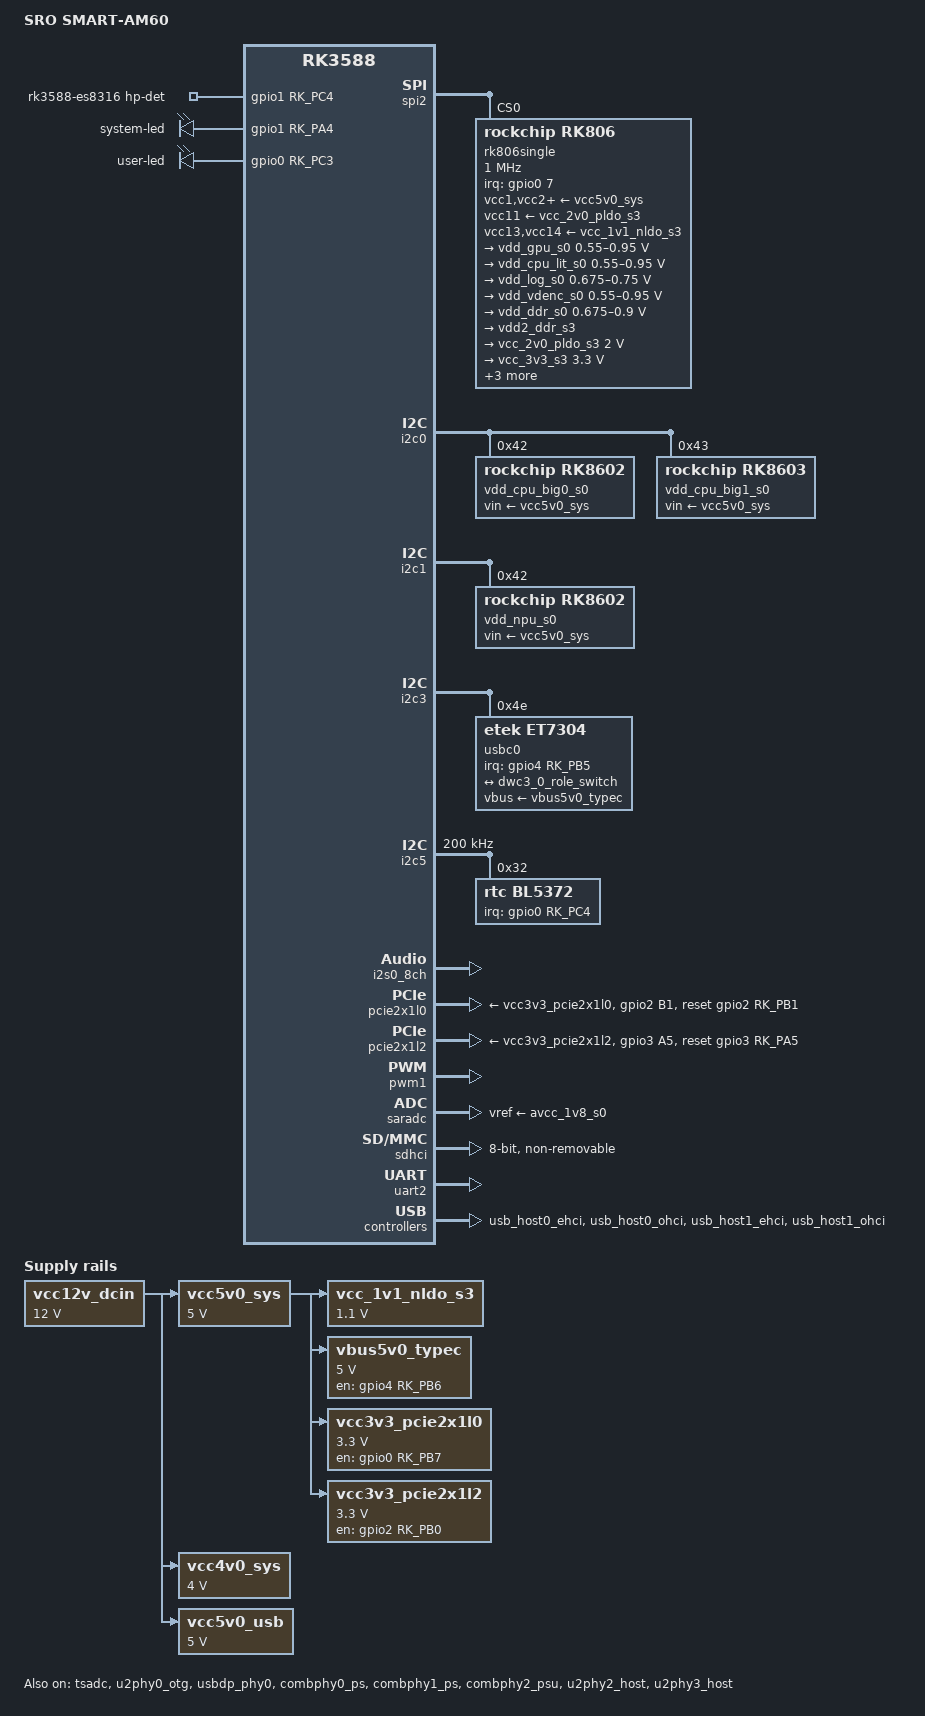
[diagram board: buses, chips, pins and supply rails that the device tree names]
// SPDX-License-Identifier: (GPL-2.0+ OR MIT)
/*
 * Copyright (c) 2021 Rockchip Electronics Co., Ltd.
 * Copyright (c) 2023 Thomas McKahan
 *
 */

/dts-v1/;

#include <dt-bindings/gpio/gpio.h>
#include <dt-bindings/pinctrl/rockchip.h>
#include <dt-bindings/usb/pd.h>
#include "rk3588.dtsi"

/ {
	model = "SRO SMART-AM60";
	compatible = "sro,smart-am60", "rockchip,rk3588";

	aliases {
		mmc0 = &sdhci;
		serial2 = &uart2;
	};

	analog-sound {
		compatible = "audio-graph-card";
		label = "rk3588-es8316";

		widgets = "Microphone", "Mic Jack",
			  "Headphone", "Headphones";

		routing = "MIC2", "Mic Jack",
			  "Headphones", "HPOL",
			  "Headphones", "HPOR";

		hp-det-gpio = <&gpio1 RK_PC4 GPIO_ACTIVE_HIGH>;
		pinctrl-names = "default";
		pinctrl-0 = <&hp_detect>;
	};

	chosen {
		stdout-path = "serial2:1500000n8";
		u-boot,spl-boot-order = &sdhci ;
	};

	leds {
		compatible = "gpio-leds";

		sys_led: led-0 {
			// green led: gpios = <0x183 0x04 0x00>;
			gpios = <&gpio1 RK_PA4 GPIO_ACTIVE_HIGH>;
			label = "system-led";
			linux,default-trigger = "heartbeat";
			pinctrl-names = "default";
			pinctrl-0 = <&sys_led_pin>;
		};

		usr_led: led-1 {
			// red led : gpios = <0x123 0x13 0x00>;
			gpios = <&gpio0 RK_PC3 GPIO_ACTIVE_HIGH>;
			label = "user-led";
			pinctrl-names = "default";
			pinctrl-0 = <&usr_led_pin>;
		};
	};

	vcc12v_dcin: vcc12v-dcin-regulator {
		compatible = "regulator-fixed";
		regulator-name = "vcc12v_dcin";
		regulator-always-on;
		regulator-boot-on;
		regulator-min-microvolt = <12000000>;
		regulator-max-microvolt = <12000000>;
	}; // ok

	/* vcc5v0_sys powers peripherals */
	vcc5v0_sys: vcc5v0-sys-regulator {
		compatible = "regulator-fixed";
		regulator-name = "vcc5v0_sys";
		regulator-always-on;
		regulator-boot-on;
		regulator-min-microvolt = <5000000>;
		regulator-max-microvolt = <5000000>;
		vin-supply = <&vcc12v_dcin>;
	}; // ok

	/* vcc4v0_sys powers the RK806, RK860's */
	vcc4v0_sys: vcc4v0-sys-regulator {
		compatible = "regulator-fixed";
		regulator-name = "vcc4v0_sys";
		regulator-always-on;
		regulator-boot-on;
		regulator-min-microvolt = <4000000>;
		regulator-max-microvolt = <4000000>;
		vin-supply = <&vcc12v_dcin>;
	}; // ok

	vcc5v0_usb: vcc5v0-usb {
		compatible = "regulator-fixed";
		regulator-name = "vcc5v0_usb";
		regulator-always-on;
		regulator-boot-on;
		regulator-min-microvolt = <0x4c4b40>;
		regulator-max-microvolt = <0x4c4b40>;
		vin-supply = <&vcc12v_dcin>;
	};	// ok

	vcc_1v1_nldo_s3: vcc-1v1-nldo-s3-regulator {
		compatible = "regulator-fixed";
		regulator-name = "vcc-1v1-nldo-s3";
		regulator-always-on;
		regulator-boot-on;
		regulator-min-microvolt = <1100000>;
		regulator-max-microvolt = <1100000>;
		vin-supply = <&vcc5v0_sys>;
	};	// ok

	vbus5v0_typec: vbus5v0-typec-regulator {
		compatible = "regulator-fixed";
		enable-active-high;
		// gpio = <0xe3 0x0e 0x00>;
		gpio = <&gpio4 RK_PB6 GPIO_ACTIVE_HIGH>;
		pinctrl-names = "default";
		pinctrl-0 = <&typec5v_pwren>;
		regulator-name = "vbus5v0_typec";
		regulator-min-microvolt = <5000000>;
		regulator-max-microvolt = <5000000>;
		vin-supply = <&vcc5v0_sys>;
	};	// ok

	vcc3v3_pcie2x1l0: vcc3v3-pcie2x1l0-regulator {
		compatible = "regulator-fixed";
		enable-active-high;
		// gpios = <0x123 0x0f 0x00>;
		gpio = <&gpio0 RK_PB7 GPIO_ACTIVE_HIGH>;
		pinctrl-names = "default";
		pinctrl-0 = <&pcie_m2_1_pwren>;
		regulator-name = "vcc3v3_pcie2x1l0";
		regulator-min-microvolt = <3300000>;
		regulator-max-microvolt = <3300000>;
		vin-supply = <&vcc5v0_sys>;
	}; // ok

	vcc3v3_pcie2x1l2: vcc3v3-pcie2x1l2-regulator {
		compatible = "regulator-fixed";
		enable-active-high;
		// gpios = <0x18a 0x08 0x01>;
		gpio = <&gpio2 RK_PB0 GPIO_ACTIVE_LOW>;
		pinctrl-names = "default";
		pinctrl-0 = <&pcie_m2_2_pwren>;
		regulator-name = "vcc3v3_pcie2x1l2";
		regulator-min-microvolt = <3300000>;
		regulator-max-microvolt = <3300000>;
		vin-supply = <&vcc5v0_sys>;
	};	// ok

};

&cpu_l0 {
	cpu-supply = <&vdd_cpu_lit_s0>;
};

&cpu_l1 {
	cpu-supply = <&vdd_cpu_lit_s0>;
};

&cpu_l2 {
	cpu-supply = <&vdd_cpu_lit_s0>;
};

&cpu_l3 {
	cpu-supply = <&vdd_cpu_lit_s0>;
};

&cpu_b0 {
	cpu-supply = <&vdd_cpu_big0_s0>;
};

&cpu_b1 {
	cpu-supply = <&vdd_cpu_big0_s0>;
};

&cpu_b2 {
	cpu-supply = <&vdd_cpu_big1_s0>;
};

&cpu_b3 {
	cpu-supply = <&vdd_cpu_big1_s0>;
};

&gpio0 {
	gpio-line-names = /* GPIO0 A0-A7 */
			  "", "", "", "",
			  "", "", "", "",
			  /* GPIO0 B0-B7 */
			  "", "", "", "",
			  "", "", "", "",
			  /* GPIO0 C0-C7 */
			  "", "", "", "",
			  "HEADER_10", "HEADER_08", "HEADER_32", "",
			  /* GPIO0 D0-D7 */
			  "", "", "", "",
			  "", "", "", "";
};

&gpio1 {
	gpio-line-names = /* GPIO1 A0-A7 */
			  "HEADER_27", "HEADER_28", "", "",
			  "", "", "", "HEADER_15",
			  /* GPIO1 B0-B7 */
			  "HEADER_26", "HEADER_21", "HEADER_19", "HEADER_23",
			  "HEADER_24", "HEADER_22", "", "",
			  /* GPIO1 C0-C7 */
			  "", "", "", "",
			  "", "", "", "",
			  /* GPIO1 D0-D7 */
			  "", "", "", "",
			  "", "", "HEADER_05", "HEADER_03";
};

&gpio2 {
	gpio-line-names = /* GPIO2 A0-A7 */
			  "", "", "", "",
			  "", "", "", "",
			  /* GPIO2 B0-B7 */
			  "", "", "", "",
			  "", "", "", "",
			  /* GPIO2 C0-C7 */
			  "", "CSI1_11", "CSI1_12", "",
			  "", "", "", "",
			  /* GPIO2 D0-D7 */
			  "", "", "", "",
			  "", "", "", "";
};

&gpio3 {
	gpio-line-names = /* GPIO3 A0-A7 */
			  "HEADER_35", "HEADER_38", "HEADER_40", "HEADER_36",
			  "HEADER_37", "", "DSI0_12", "",
			  /* GPIO3 B0-B7 */
			  "HEADER_33", "DSI0_10", "HEADER_07", "HEADER_16",
			  "HEADER_18", "HEADER_29", "HEADER_31", "HEADER_12",
			  /* GPIO3 C0-C7 */
			  "DSI0_08", "DSI0_14", "HEADER_11", "HEADER_13",
			  "", "", "", "",
			  /* GPIO3 D0-D7 */
			  "", "", "", "",
			  "", "DSI1_10", "", "";
};

&gpio4 {
	gpio-line-names = /* GPIO4 A0-A7 */
			  "DSI1_08", "DSI1_14", "", "DSI1_12",
			  "", "", "", "",
			  /* GPIO4 B0-B7 */
			  "", "", "", "",
			  "", "", "", "",
			  /* GPIO4 C0-C7 */
			  "", "", "", "",
			  "CSI0_11", "CSI0_12", "", "",
			  /* GPIO4 D0-D7 */
			  "", "", "", "",
			  "", "", "", "";
};

&spi2 {
	status = "okay";
	assigned-clocks = <&cru CLK_SPI2>;
	assigned-clock-rates = <200000000>;
	pinctrl-names = "default";
	pinctrl-0 = <&spi2m2_cs0 &spi2m2_pins>;
	num-cs = <1>;

	rk806single: rk806single@0 {
		compatible = "rockchip,rk806";
		spi-max-frequency = <1000000>;
		reg = <0x0>;

		interrupt-parent = <&gpio0>;
		interrupts = <7 IRQ_TYPE_LEVEL_LOW>;

		pinctrl-names = "default";
		pinctrl-0 = <&pmic_pins>, <&rk806_dvs1_null>,
			    <&rk806_dvs2_null>, <&rk806_dvs3_null>;

		system-power-controller;

		vcc1-supply = <&vcc5v0_sys>;
		vcc2-supply = <&vcc5v0_sys>;
		vcc3-supply = <&vcc5v0_sys>;
		vcc4-supply = <&vcc5v0_sys>;
		vcc5-supply = <&vcc5v0_sys>;
		vcc6-supply = <&vcc5v0_sys>;
		vcc7-supply = <&vcc5v0_sys>;
		vcc8-supply = <&vcc5v0_sys>;
		vcc9-supply = <&vcc5v0_sys>;
		vcc10-supply = <&vcc5v0_sys>;
		vcc11-supply = <&vcc_2v0_pldo_s3>;
		vcc12-supply = <&vcc5v0_sys>;
		vcc13-supply = <&vcc_1v1_nldo_s3>;
		vcc14-supply = <&vcc_1v1_nldo_s3>;
		vcca-supply = <&vcc5v0_sys>;

		gpio-controller;
		#gpio-cells = <2>;
		pwrkey {
				status = "disabled";
			};

		rk806_dvs1_null: dvs1-null-pins {
			pins = "gpio_pwrctrl2";
			function = "pin_fun0";
		};

		rk806_dvs2_null: dvs2-null-pins {
			pins = "gpio_pwrctrl2";
			function = "pin_fun0";
		};

		rk806_dvs3_null: dvs3-null-pins {
			pins = "gpio_pwrctrl3";
			function = "pin_fun0";
		};

		regulators {
			vdd_gpu_s0: vdd_gpu_mem_s0: dcdc-reg1 {
				regulator-boot-on;
				regulator-min-microvolt = <550000>;
				regulator-max-microvolt = <950000>;
				regulator-ramp-delay = <12500>;
				regulator-name = "vdd_gpu_s0";
				regulator-enable-ramp-delay = <400>;

				regulator-state-mem {
					regulator-off-in-suspend;
				};
			};

			vdd_cpu_lit_s0: vdd_cpu_lit_mem_s0: dcdc-reg2 {
				regulator-always-on;
				regulator-boot-on;
				regulator-min-microvolt = <550000>;
				regulator-max-microvolt = <950000>;
				regulator-ramp-delay = <12500>;
				regulator-name = "vdd_cpu_lit_s0";

				regulator-state-mem {
					regulator-off-in-suspend;
				};
			};

			vdd_log_s0: dcdc-reg3 {
				regulator-always-on;
				regulator-boot-on;
				regulator-min-microvolt = <675000>;
				regulator-max-microvolt = <750000>;
				regulator-ramp-delay = <12500>;
				regulator-name = "vdd_log_s0";

				regulator-state-mem {
					regulator-off-in-suspend;
					regulator-suspend-microvolt = <750000>;
				};
			};

			vdd_vdenc_s0: vdd_vdenc_mem_s0: dcdc-reg4 {
				regulator-always-on;
				regulator-boot-on;
				regulator-min-microvolt = <550000>;
				regulator-max-microvolt = <950000>;
				regulator-init-microvolt = <750000>;
				regulator-ramp-delay = <12500>;
				regulator-name = "vdd_vdenc_s0";

				regulator-state-mem {
					regulator-off-in-suspend;
				};
			};

			vdd_ddr_s0: dcdc-reg5 {
				regulator-always-on;
				regulator-boot-on;
				regulator-min-microvolt = <675000>;
				regulator-max-microvolt = <900000>;
				regulator-ramp-delay = <12500>;
				regulator-name = "vdd_ddr_s0";

				regulator-state-mem {
					regulator-off-in-suspend;
					regulator-suspend-microvolt = <850000>;
				};
			};

			vdd2_ddr_s3: dcdc-reg6 {
				regulator-always-on;
				regulator-boot-on;
				regulator-name = "vdd2_ddr_s3";

				regulator-state-mem {
					regulator-on-in-suspend;
				};
			};

			vcc_2v0_pldo_s3: dcdc-reg7 {
				regulator-always-on;
				regulator-boot-on;
				regulator-min-microvolt = <2000000>;
				regulator-max-microvolt = <2000000>;
				regulator-ramp-delay = <12500>;
				regulator-name = "vdd_2v0_pldo_s3";

				regulator-state-mem {
					regulator-on-in-suspend;
					regulator-suspend-microvolt = <2000000>;
				};
			};

			vcc_3v3_s3: dcdc-reg8 {
				regulator-always-on;
				regulator-boot-on;
				regulator-min-microvolt = <3300000>;
				regulator-max-microvolt = <3300000>;
				regulator-name = "vcc_3v3_s3";

				regulator-state-mem {
					regulator-on-in-suspend;
					regulator-suspend-microvolt = <3300000>;
				};
			};

			vddq_ddr_s0: dcdc-reg9 {
				regulator-always-on;
				regulator-boot-on;
				regulator-name = "vddq_ddr_s0";

				regulator-state-mem {
					regulator-off-in-suspend;
				};
			};

			vcc_1v8_s3: dcdc-reg10 {
				regulator-always-on;
				regulator-boot-on;
				regulator-min-microvolt = <1800000>;
				regulator-max-microvolt = <1800000>;
				regulator-name = "vcc_1v8_s3";

				regulator-state-mem {
					regulator-on-in-suspend;
					regulator-suspend-microvolt = <1800000>;
				};
			};

			avcc_1v8_s0: pldo-reg1 {
				regulator-always-on;
				regulator-boot-on;
				regulator-min-microvolt = <1800000>;
				regulator-max-microvolt = <1800000>;
				regulator-name = "avcc_1v8_s0";

				regulator-state-mem {
					regulator-off-in-suspend;
				};
			};

			vcc_1v8_s0: pldo-reg2 {
				regulator-always-on;
				regulator-boot-on;
				regulator-min-microvolt = <1800000>;
				regulator-max-microvolt = <1800000>;
				regulator-name = "vcc_1v8_s0";

				regulator-state-mem {
					regulator-off-in-suspend;
					regulator-suspend-microvolt = <1800000>;
				};
			};

			avdd_1v2_s0: pldo-reg3 {
				regulator-always-on;
				regulator-boot-on;
				regulator-min-microvolt = <1200000>;
				regulator-max-microvolt = <1200000>;
				regulator-name = "avdd_1v2_s0";

				regulator-state-mem {
					regulator-off-in-suspend;
				};
			};

			vcc_3v3_s0: pldo-reg4 {
				regulator-always-on;
				regulator-boot-on;
				regulator-min-microvolt = <3300000>;
				regulator-max-microvolt = <3300000>;
				regulator-ramp-delay = <12500>;
				regulator-name = "vcc_3v3_s0";

				regulator-state-mem {
					regulator-off-in-suspend;
				};
			};

			vccio_sd_s0: pldo-reg5 {
				regulator-always-on;
				regulator-boot-on;
				regulator-min-microvolt = <1800000>;
				regulator-max-microvolt = <3300000>;
				regulator-ramp-delay = <12500>;
				regulator-name = "vccio_sd_s0";

				regulator-state-mem {
					regulator-off-in-suspend;
				};
			};

			pldo6_s3: pldo-reg6 {
				regulator-always-on;
				regulator-boot-on;
				regulator-min-microvolt = <1800000>;
				regulator-max-microvolt = <1800000>;
				regulator-name = "pldo6_s3";

				regulator-state-mem {
					regulator-on-in-suspend;
					regulator-suspend-microvolt = <1800000>;
				};
			};

			vdd_0v75_s3: nldo-reg1 {
				regulator-always-on;
				regulator-boot-on;
				regulator-min-microvolt = <750000>;
				regulator-max-microvolt = <750000>;
				regulator-name = "vdd_0v75_s3";

				regulator-state-mem {
					regulator-on-in-suspend;
					regulator-suspend-microvolt = <750000>;
				};
			};

			vdd_ddr_pll_s0: nldo-reg2 {
				regulator-always-on;
				regulator-boot-on;
				regulator-min-microvolt = <850000>;
				regulator-max-microvolt = <850000>;
				regulator-name = "vdd_ddr_pll_s0";

				regulator-state-mem {
					regulator-off-in-suspend;
					regulator-suspend-microvolt = <850000>;
				};
			};

			avdd_0v75_s0: nldo-reg3 {
				regulator-always-on;
				regulator-boot-on;
				regulator-min-microvolt = <750000>;
				regulator-max-microvolt = <750000>;
				regulator-name = "avdd_0v75_s0";

				regulator-state-mem {
					regulator-off-in-suspend;
				};
			};

			vdd_0v85_s0: nldo-reg4 {
				regulator-always-on;
				regulator-boot-on;
				regulator-min-microvolt = <850000>;
				regulator-max-microvolt = <850000>;
				regulator-name = "vdd_0v85_s0";

				regulator-state-mem {
					regulator-off-in-suspend;
				};
			};

			vdd_0v75_s0: nldo-reg5 {
				regulator-always-on;
				regulator-boot-on;
				regulator-min-microvolt = <750000>;
				regulator-max-microvolt = <750000>;
				regulator-name = "vdd_0v75_s0";

				regulator-state-mem {
					regulator-off-in-suspend;
				};
			};
		};
	};
};	// ok

&i2c0 {
	pinctrl-names = "default";
	pinctrl-0 = <&i2c0m2_xfer>;
	status = "okay";

	vdd_cpu_big0_s0: regulator@42 {
		compatible = "rockchip,rk8602";
		regulator-compatible = "rk860x-reg";
		reg = <0x42>;
		fcs,suspend-voltage-selector = <1>;
		regulator-name = "vdd_cpu_big0_s0";
		regulator-always-on;
		regulator-boot-on;
		regulator-min-microvolt = <550000>;
		regulator-max-microvolt = <1050000>;
		regulator-ramp-delay = <2300>;
		vin-supply = <&vcc5v0_sys>;

		regulator-state-mem {
			regulator-off-in-suspend;
		};
	};

	vdd_cpu_big1_s0: regulator@43 {
		compatible = "rockchip,rk8603", "rockchip,rk8602";
		regulator-compatible = "rk860x-reg";
		reg = <0x43>;
		fcs,suspend-voltage-selector = <1>;
		regulator-name = "vdd_cpu_big1_s0";
		regulator-always-on;
		regulator-boot-on;
		regulator-min-microvolt = <550000>;
		regulator-max-microvolt = <1050000>;
		regulator-ramp-delay = <2300>;
		vin-supply = <&vcc5v0_sys>;

		regulator-state-mem {
			regulator-off-in-suspend;
		};
	};
};	// ok

&i2c1 {
	status = "okay";

	vdd_npu_s0: regulator@42 {
		compatible = "rockchip,rk8602";
		regulator-compatible = "rk860x-reg";
		reg = <0x42>;
		rockchip,suspend-voltage-selector = <1>;
		regulator-name = "vdd_npu_s0";
		regulator-always-on;
		regulator-boot-on;
		regulator-min-microvolt = <550000>;
		regulator-max-microvolt = <950000>;
		regulator-ramp-delay = <2300>;
		vin-supply = <&vcc5v0_sys>;

		regulator-state-mem {
			regulator-off-in-suspend;
		};
	};
};	// ok

// #配置外置Type-C控制器芯片et7304
// #需要根据实际的硬件设计，配置"I2C/interrupts/vbus-supply/usb_con"的属性
&i2c3 {
    status = "okay";

    usbc0: et7304@4e {
        compatible = "etek,et7304";
        reg = <0x4e>;
		// interrupt-parent = <0xe3>;
		// interrupts = <0x0d 0x08>;
        interrupt-parent = <&gpio4>;
        interrupts = <RK_PB5 IRQ_TYPE_LEVEL_LOW>;
        pinctrl-names = "default";
        pinctrl-0 = <&usbc0_int>;
        vbus-supply = <&vbus5v0_typec>;
        status = "okay";

        ports {
            #address-cells = <1>;
            #size-cells = <0>;

            port@0 {
                reg = <0>;
                usbc0_role_sw: endpoint@0 {
                	remote-endpoint = <&dwc3_0_role_switch>;
                };
            };
        };

        usb_con: connector {
            compatible = "usb-c-connector";
            label = "USB-C";
            data-role = "dual";
            power-role = "dual";
            try-power-role = "sink";
            op-sink-microwatt = <1000000>;
            source-pdos = <PDO_FIXED(5000, 2000, PDO_FIXED_USB_COMM)>;
			sink-pdos = <PDO_FIXED(5000, 3000, PDO_FIXED_USB_COMM)>;
/*
            altmodes {
                #address-cells = <1>;
                #size-cells = <0>;
                altmode@0 {
                    reg = <0>;
                    svid = <0xff01>;
                    vdo = <0xffffffff>;
                };
            };

            ports {
				#address-cells = <0x01>;
				#size-cells = <0x00>;
				usbc0_orien_sw: port@0 {
					reg = <0x00>;
					endpoint {
						remote-endpoint = <&usbdp_phy0_orientation_switch>;
					};
				};

				dp_altmode_mux: port@1 {
					reg = <0x01>;
					endpoint {
						remote-endpoint = <&usbdp_phy0_dp_altmode_mux>;
					};
				};
			};
*/
        };
    };
};

&i2c5 {
	clock-frequency = <200000>;
	status = "okay";

	bl5372: rtc@32 {
		compatible = "rtc,bl5372";
		reg = <0x32>;
		#clock-cells = <0>;
		clock-output-names = "hym8563";
		pinctrl-names = "default";
		pinctrl-0 = <&bl5372_int>;
		interrupt-parent = <&gpio0>;
		interrupts = <RK_PC4 IRQ_TYPE_LEVEL_LOW>;
		wakeup-source;
	};
};	// ok

&i2s0_8ch {
	pinctrl-names = "default";
	pinctrl-0 = <&i2s0_lrck
		     &i2s0_mclk
		     &i2s0_sclk
		     &i2s0_sdi0
		     &i2s0_sdo0>;
	status = "okay";
};

&pcie2x1l0 {
	// reset-gpios = <0x18a 0x09 0x00>;
	reset-gpios = <&gpio2 RK_PB1 GPIO_ACTIVE_HIGH>;
	vpcie3v3-supply = <&vcc3v3_pcie2x1l0>;
	pinctrl-names = "default";
	pinctrl-0 = <&pcie2_0_rst>;
	status = "okay";
};	// ok


&pcie2x1l2 {
	// reset-gpios = <0xee 0x05 0x00>;
	reset-gpios = <&gpio3 RK_PA5 GPIO_ACTIVE_HIGH>;
	vpcie3v3-supply = <&vcc3v3_pcie2x1l2>;
	pinctrl-names = "default";
	pinctrl-0 = <&pcie2_2_rst>;
	status = "okay";
};	// ok

&pinctrl {
	gpio-leds {
		sys_led_pin: sys-led-pin {
			rockchip,pins = <1 RK_PA4 RK_FUNC_GPIO &pcfg_pull_none>;
		};

		usr_led_pin: usr-led-pin {
			rockchip,pins = <0 RK_PC3 RK_FUNC_GPIO &pcfg_pull_none>;
		};
	};

	headphone {
		hp_detect: hp-detect {
			rockchip,pins = <1 RK_PC4 RK_FUNC_GPIO &pcfg_pull_none>;
		};
	};

	usb-typec {

			usbc0_int: usbc0-int {
				rockchip,pins = <0x04 0x0d 0x00 0x168>;
			};

			typec5v_pwren: typec5v-pwren {
				rockchip,pins = <0x04 0x0e 0x00 0x162>;
			};
	};

	bl5372 {
		bl5372_int: bl5372-int {
			rockchip,pins = <0 RK_PC4 RK_FUNC_GPIO &pcfg_pull_up>;
		};
	};

	pcie {
		pcie2_0_rst: pcie2-0-rst {
			rockchip,pins = <2 RK_PB1 RK_FUNC_GPIO &pcfg_pull_none>;
		};

		pcie2_2_rst: pcie2-2-rst {
			rockchip,pins = <3 RK_PA5 RK_FUNC_GPIO &pcfg_pull_none>;
		};

	};

	pcie_m2_1_pwren: pcie-m21-pwren {
			rockchip,pins = <0 RK_PB7 RK_FUNC_GPIO &pcfg_pull_none>;
		};

	pcie_m2_2_pwren: pcie-m22-pwren {
			rockchip,pins = <2 RK_PB0 RK_FUNC_GPIO &pcfg_pull_none>;
		};

	rtl8111 {

			rtl8111-isolate {
				rockchip,pins = <0x00 0x17 0x00 0x168>;
			};

			rtl8111-poweren {
				rockchip,pins = <0x00 0x0f 0x00 0x162>;
			};
	};
};

&pwm1 {
	pinctrl-0 = <&pwm1m1_pins>;
	status = "okay";
};

&saradc {
	vref-supply = <&avcc_1v8_s0>;
	status = "okay";
};

&sdhci {
	bus-width = <8>;
	no-sdio;
	no-sd;
	non-removable;
	max-frequency = <200000000>;
	mmc-hs400-1_8v;
	mmc-hs400-enhanced-strobe;
	status = "okay";
};

&sdmmc {
	status = "disabled";
};

&sdio {
	status = "disabled";
};

&tsadc {
	status = "okay";
};

&uart2 {
	pinctrl-0 = <&uart2m1_xfer>;
	status = "okay";
};

/* Type-C USB 3.1/DP 全功能 DTS 配置 */
// #USB2.0 PHY配置属性"rockchip,typec-vbus-det"，表示支持Type-C VBUS_DET常拉高的硬件设计
&u2phy0_otg {
	status = "okay";
    rockchip,typec-vbus-det;
};

// #USB3.1/DP PHY0，需要根据硬件设计，配置属性"sbu1-dc-gpios"和"sbu2-dc-gpios"
&usbdp_phy0 {
	status = "okay";
    orientation-switch;
    svid = <0xff01>;
	// sbu1-dc-gpios = <0xee 0x08 0x00>;
    sbu1-dc-gpios = <&gpio3 RK_PB0 GPIO_ACTIVE_HIGH>;
	// sbu2-dc-gpios = <0xee 0x07 0x00>;
    sbu2-dc-gpios = <&gpio3 RK_PA7 GPIO_ACTIVE_HIGH>;
/*
    port {
            #address-cells = <1>;
            #size-cells = <0>;
		    usbdp_phy0_orientation_switch: endpoint@0 {
                    reg = <0>;
                    remote-endpoint = <&usbc0_orien_sw>;
            };

            usbdp_phy0_dp_altmode_mux: endpoint@1 {
                    reg = <1>;
                    remote-endpoint = <&dp_altmode_mux>;
             };
    };
*/
};

/*
// #USB3.1 OTG0 Controller
&usbdrd_dwc3_0 {
	status = "okay";
    dr_mode = "otg";
    usb-role-switch;
    port {
        #address-cells = <1>;
        #size-cells = <0>;
        dwc3_0_role_switch: endpoint@0 {
        	reg = <0>;
        	remote-endpoint = <&usbc0_role_sw>;
        };
    };
};
*/
/* Type-A USB 3.1 DTS 配置 */
// #使能USB3.1/SATA/PCIe Combo PHY
&combphy0_ps {
	status = "okay";
};

&combphy1_ps {
	status = "okay";
};

&combphy2_psu {
	status = "okay";
};
/*
// #配置USB3.1 HOST2 Controller
&usbhost3_0 {
    status = "okay";
};

&usbhost_dwc3_0 {
    dr_mode = "host";
    status = "okay";
};
*/
// #USB2.0 PHY2/3配置"phy-supply"属性，用于控制VBUS输出5V
&u2phy2_host {
	status = "okay";
    phy-supply = <&vcc5v0_usb>;
};

&u2phy3_host {
	status = "okay";
    phy-supply = <&vcc5v0_usb>;
};

// #USB2.0 HOST0/1 Controller
&usb_host0_ehci {
    status = "okay";
};

&usb_host0_ohci {
    status = "okay";
};

&usb_host1_ehci {
    status = "okay";
};

&usb_host1_ohci {
    status = "okay";
};
